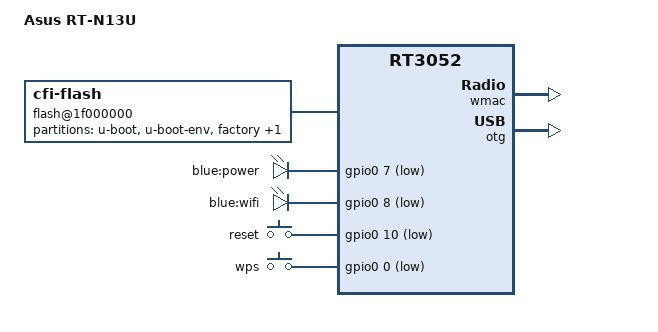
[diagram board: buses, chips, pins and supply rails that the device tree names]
#include "rt3050.dtsi"

#include <dt-bindings/gpio/gpio.h>
#include <dt-bindings/input/input.h>

/ {
	compatible = "asus,rt-n13u", "ralink,rt3052-soc";
	model = "Asus RT-N13U";

	aliases {
		led-boot = &led_power;
		led-failsafe = &led_power;
		led-running = &led_power;
		led-upgrade = &led_power;
	};

	flash@1f000000 {
		compatible = "cfi-flash";
		reg = <0x1f000000 0x800000>;
		bank-width = <2>;
		device-width = <2>;

		partitions {
			compatible = "fixed-partitions";
			#address-cells = <1>;
			#size-cells = <1>;

			partition@0 {
				label = "u-boot";
				reg = <0x0 0x30000>;
				read-only;
			};

			partition@30000 {
				label = "u-boot-env";
				reg = <0x30000 0x10000>;
				read-only;
			};

			factory: partition@40000 {
				label = "factory";
				reg = <0x40000 0x10000>;
				read-only;
			};

			partition@50000 {
				compatible = "denx,uimage";
				label = "firmware";
				reg = <0x50000 0x7b0000>;
			};
		};
	};

	leds {
		compatible = "gpio-leds";

		led_power: power {
			label = "blue:power";
			gpios = <&gpio0 7 GPIO_ACTIVE_LOW>;
		};

		wifi {
			label = "blue:wifi";
			gpios = <&gpio0 8 GPIO_ACTIVE_LOW>;
		};
	};

	keys {
		compatible = "gpio-keys-polled";
		poll-interval = <10>;

		reset {
			label = "reset";
			gpios = <&gpio0 10 GPIO_ACTIVE_LOW>;
			linux,code = <KEY_RESTART>;
		};

		wps {
			label = "wps";
			gpios = <&gpio0 0 GPIO_ACTIVE_LOW>;
			linux,code = <KEY_WPS_BUTTON>;
		};
	};
};

&state_default {
	gpio {
		groups = "spi", "i2c", "jtag", "rgmii", "mdio", "uartf";
		function = "gpio";
	};
};

&ethernet {
	mtd-mac-address = <&factory 0x28>;
};

&esw {
	mediatek,portmap = <0x2f>;
};

&wmac {
	ralink,mtd-eeprom = <&factory 0x0>;
};

&otg {
	status = "okay";
};
